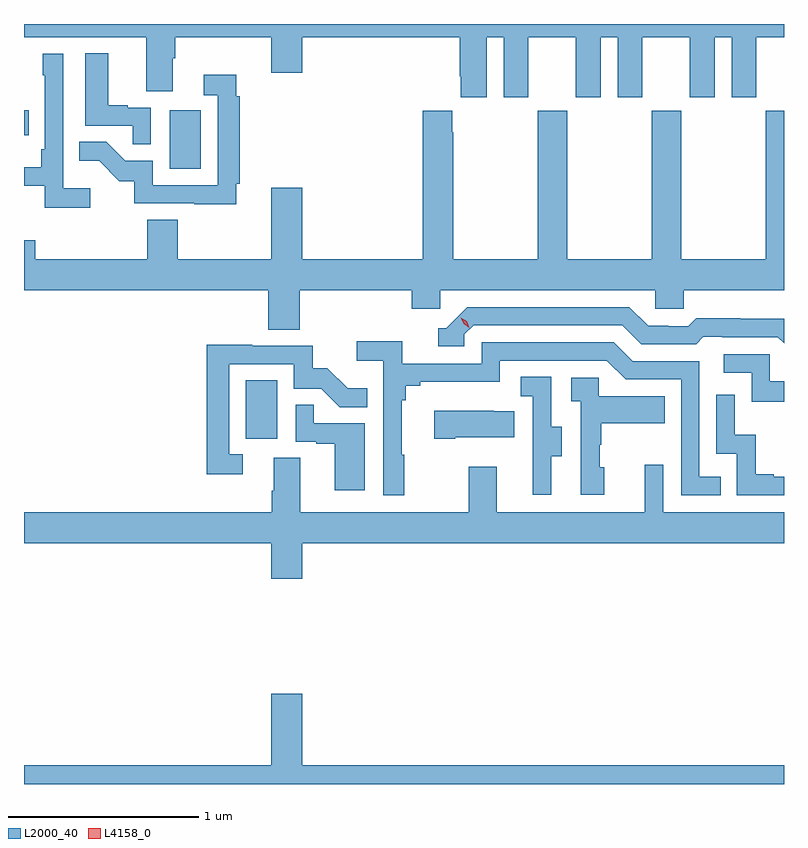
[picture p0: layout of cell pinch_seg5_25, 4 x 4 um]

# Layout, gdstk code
import gdstk
lib = gdstk.Library(unit=1e-6, precision=1e-09)
def R(c, l, rs):  # rectangles x0, y0, x1, y1
    for r in rs: c.add(gdstk.rectangle(r[:2], r[2:], *l))
def P(c, l, *ps):  # polygons
    for p in ps: c.add(gdstk.Polygon(p, *l))
L2000_40 = (2000, 40)
L4158_0 = (4158, 0)

pinch_seg5_25 = lib.new_cell('pinch_seg5_25')
R(pinch_seg5_25, L2000_40, [(1141.898,910.59,1142.062,910.897), (1141.496,912.012,1141.66,912.319), (1140.73,912.188,1140.755,912.318)])
P(pinch_seg5_25, L2000_40, [(1143.166,912.704),(1143.254,912.704),(1143.254,912.387),(1143.385,912.387),(1143.385,912.704),(1143.635,912.704),(1143.635,912.387),(1143.766,912.387),(1143.766,912.704),(1143.854,912.704),(1143.854,912.387),(1143.985,912.387),(1143.985,912.704),(1144.235,912.704),(1144.235,912.387),(1144.366,912.387),(1144.366,912.704),(1144.454,912.704),(1144.454,912.387),(1144.585,912.387),(1144.585,912.704),(1144.73,912.704),(1144.73,912.773),(1140.73,912.773),(1140.73,912.704),(1141.373,912.704),(1141.373,912.418),(1141.513,912.418),(1141.513,912.592),(1141.526,912.592),(1141.526,912.704),(1142.03,912.704),(1142.03,912.516),(1142.194,912.516),(1142.194,912.704),(1143.023,912.704),(1143.023,912.499),(1143.029,912.499),(1143.029,912.387),(1143.166,912.387)],
  [(1141.398,912.333),(1141.277,912.333),(1141.277,912.346),(1141.174,912.346),(1141.174,912.619),(1141.052,912.619),(1141.052,912.237),(1141.303,912.237),(1141.303,912.139),(1141.398,912.139)],
  [(1141.078,911.908),(1140.936,911.908),(1140.936,912.616),(1140.828,912.616),(1140.828,912.503),(1140.84,912.503),(1140.84,912.115),(1140.82,912.115),(1140.82,912.019),(1140.73,912.019),(1140.73,911.922),(1140.839,911.922),(1140.839,911.806),(1141.078,911.806)],
  [(1141.847,911.932),(1141.865,911.932),(1141.865,912.392),(1141.847,912.392),(1141.847,912.505),(1141.677,912.505),(1141.677,912.399),(1141.749,912.399),(1141.749,911.925),(1141.407,911.925),(1141.407,912.054),(1141.262,912.054),(1141.164,912.152),(1141.021,912.152),(1141.021,912.053),(1141.125,912.053),(1141.232,911.946),(1141.309,911.946),(1141.309,911.829),(1141.627,911.829),(1141.627,911.824),(1141.847,911.824)],
  [(1142.18,911.372),(1142.771,911.372),(1142.771,911.274),(1142.922,911.274),(1142.922,911.372),(1144.053,911.372),(1144.053,911.274),(1144.203,911.274),(1144.203,911.372),(1144.73,911.372),(1144.73,912.316),(1144.633,912.316),(1144.633,911.536),(1144.188,911.536),(1144.188,912.316),(1144.033,912.316),(1144.033,911.536),(1143.588,911.536),(1143.588,912.316),(1143.433,912.316),(1143.433,911.536),(1142.988,911.536),(1142.988,912.203),(1142.983,912.203),(1142.983,912.316),(1142.828,912.316),(1142.828,911.536),(1142.194,911.536),(1142.194,911.911),(1142.03,911.911),(1142.03,911.536),(1141.539,911.536),(1141.539,911.744),(1141.379,911.744),(1141.379,911.536),(1140.788,911.536),(1140.788,911.634),(1140.73,911.634),(1140.73,911.372),(1142.015,911.372),(1142.015,911.164),(1142.18,911.164)],
  [(1143.048,911.139),(1143.096,911.187),(1143.879,911.187),(1143.978,911.088),(1144.267,911.088),(1144.306,911.127),(1144.405,911.127),(1144.405,911.124),(1144.698,911.124),(1144.73,911.092),(1144.73,911.221),(1144.5,911.221),(1144.5,911.224),(1144.267,911.224),(1144.225,911.181),(1144.122,911.181),(1144.122,911.184),(1144.015,911.184),(1143.916,911.283),(1143.063,911.283),(1142.952,911.172),(1142.909,911.172),(1142.909,911.076),(1143.048,911.076)],
  [(1142.731,910.505),(1142.719,910.505),(1142.719,910.793),(1142.738,910.793),(1142.738,910.87),(1142.815,910.87),(1142.815,910.889),(1143.234,910.889),(1143.234,911.001),(1143.798,911.001),(1143.897,910.902),(1144.188,910.902),(1144.188,910.293),(1144.397,910.293),(1144.397,910.389),(1144.284,910.389),(1144.284,910.998),(1143.934,910.998),(1143.835,911.097),(1143.138,911.097),(1143.138,910.986),(1142.72,910.986),(1142.72,911.102),(1142.481,911.102),(1142.481,911),(1142.622,911),(1142.622,910.293),(1142.731,910.293)],
  [(1141.882,910.509),(1141.809,910.509),(1141.809,910.983),(1142.151,910.983),(1142.151,910.854),(1142.295,910.854),(1142.393,910.756),(1142.537,910.756),(1142.537,910.855),(1142.433,910.855),(1142.326,910.962),(1142.25,910.962),(1142.25,911.079),(1141.931,911.079),(1141.931,911.084),(1141.693,911.084),(1141.693,910.404),(1141.882,910.404)],
  [(1144.73,910.893),(1144.656,910.893),(1144.656,911.034),(1144.413,911.034),(1144.413,910.938),(1144.56,910.938),(1144.56,910.785),(1144.73,910.785)],
  [(1143.505,910.498),(1143.559,910.498),(1143.559,910.653),(1143.504,910.653),(1143.504,910.916),(1143.345,910.916),(1143.345,910.813),(1143.408,910.813),(1143.408,910.509),(1143.407,910.509),(1143.407,910.296),(1143.505,910.296)],
  [(1143.784,910.44),(1143.759,910.44),(1143.759,910.559),(1143.769,910.559),(1143.769,910.673),(1144.103,910.673),(1144.103,910.813),(1143.756,910.813),(1143.756,910.911),(1143.609,910.911),(1143.609,910.787),(1143.66,910.787),(1143.66,910.296),(1143.784,910.296)],
  [(1144.73,910.389),(1144.675,910.389),(1144.675,910.402),(1144.58,910.402),(1144.58,910.61),(1144.47,910.61),(1144.47,910.822),(1144.374,910.822),(1144.374,910.512),(1144.482,910.512),(1144.482,910.293),(1144.73,910.293)],
  [(1142.524,910.671),(1142.255,910.671),(1142.255,910.769),(1142.16,910.769),(1142.16,910.575),(1142.267,910.575),(1142.267,910.563),(1142.366,910.563),(1142.366,910.32),(1142.524,910.32)],
  [(1143.001,910.598),(1143.311,910.598),(1143.311,910.735),(1143.203,910.735),(1143.203,910.738),(1142.889,910.738),(1142.889,910.591),(1143.001,910.591)],
  [(1142.194,910.04),(1144.73,910.04),(1144.73,910.204),(1144.095,910.204),(1144.095,910.453),(1143.998,910.453),(1143.998,910.204),(1143.217,910.204),(1143.217,910.444),(1143.07,910.444),(1143.07,910.204),(1142.185,910.204),(1142.185,910.49),(1142.045,910.49),(1142.045,910.316),(1142.033,910.316),(1142.033,910.204),(1140.73,910.204),(1140.73,910.04),(1142.03,910.04),(1142.03,909.852),(1142.194,909.852)],
  [(1144.73,908.872),(1142.194,908.872),(1142.194,909.247),(1142.03,909.247),(1142.03,908.872),(1140.73,908.872),(1140.73,908.773),(1144.73,908.773)])
P(pinch_seg5_25, L4158_0, [(1143.074,911.175),(1143.044,911.195),(1143.028,911.228),(1143.028,911.228),(1143.028,911.228),(1143.059,911.208),(1143.074,911.175),(1143.074,911.175)])

lib.write_gds('pinch_seg5_25.gds')
